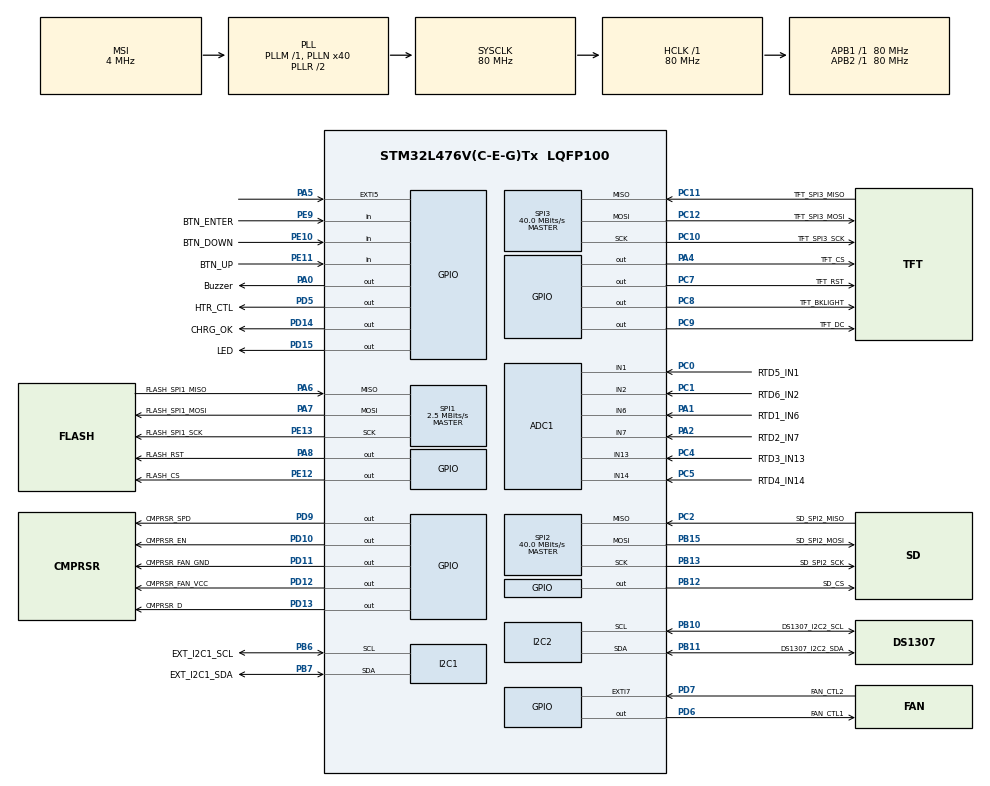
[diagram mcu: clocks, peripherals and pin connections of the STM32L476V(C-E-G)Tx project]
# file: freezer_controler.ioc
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ADC1.Channel-0\#ChannelRegularConversion=ADC_CHANNEL_1
ADC1.Channel-1\#ChannelRegularConversion=ADC_CHANNEL_2
ADC1.Channel-2\#ChannelRegularConversion=ADC_CHANNEL_6
ADC1.Channel-3\#ChannelRegularConversion=ADC_CHANNEL_7
ADC1.Channel-4\#ChannelRegularConversion=ADC_CHANNEL_13
ADC1.Channel-5\#ChannelRegularConversion=ADC_CHANNEL_14
ADC1.ClockPrescaler=ADC_CLOCK_ASYNC_DIV256
ADC1.ContinuousConvMode=ENABLE
ADC1.DMAContinuousRequests=ENABLE
ADC1.NbrOfConversion=6
ADC1.NbrOfConversionFlag=1
ADC1.OffsetNumber-0\#ChannelRegularConversion=ADC_OFFSET_NONE
ADC1.OffsetNumber-1\#ChannelRegularConversion=ADC_OFFSET_NONE
ADC1.OffsetNumber-2\#ChannelRegularConversion=ADC_OFFSET_NONE
ADC1.OffsetNumber-3\#ChannelRegularConversion=ADC_OFFSET_NONE
ADC1.OffsetNumber-4\#ChannelRegularConversion=ADC_OFFSET_NONE
ADC1.OffsetNumber-5\#ChannelRegularConversion=ADC_OFFSET_NONE
ADC1.Rank-0\#ChannelRegularConversion=1
ADC1.Rank-1\#ChannelRegularConversion=2
ADC1.Rank-2\#ChannelRegularConversion=3
ADC1.Rank-3\#ChannelRegularConversion=4
ADC1.Rank-4\#ChannelRegularConversion=5
ADC1.Rank-5\#ChannelRegularConversion=6
ADC1.SamplingTime-0\#ChannelRegularConversion=ADC_SAMPLETIME_2CYCLES_5
ADC1.SamplingTime-1\#ChannelRegularConversion=ADC_SAMPLETIME_2CYCLES_5
ADC1.SamplingTime-2\#ChannelRegularConversion=ADC_SAMPLETIME_2CYCLES_5
ADC1.SamplingTime-3\#ChannelRegularConversion=ADC_SAMPLETIME_2CYCLES_5
ADC1.SamplingTime-4\#ChannelRegularConversion=ADC_SAMPLETIME_2CYCLES_5
ADC1.SamplingTime-5\#ChannelRegularConversion=ADC_SAMPLETIME_2CYCLES_5
ADC1.master=1
CRC.CRCLength=CRC_POLYLENGTH_16B
CRC.DefaultInitValueUse=DEFAULT_INIT_VALUE_ENABLE
CRC.DefaultPolynomialUse=DEFAULT_POLYNOMIAL_DISABLE
CRC.InputDataInversionMode=CRC_INPUTDATA_INVERSION_BYTE
CRC.OutputDataInversionMode=CRC_OUTPUTDATA_INVERSION_DISABLE
Dma.ADC1.1.Direction=DMA_PERIPH_TO_MEMORY
Dma.ADC1.1.Instance=DMA1_Channel1
Dma.ADC1.1.MemDataAlignment=DMA_MDATAALIGN_WORD
Dma.ADC1.1.MemInc=DMA_MINC_ENABLE
Dma.ADC1.1.Mode=DMA_CIRCULAR
Dma.ADC1.1.PeriphDataAlignment=DMA_PDATAALIGN_WORD
Dma.ADC1.1.PeriphInc=DMA_PINC_DISABLE
Dma.ADC1.1.Priority=DMA_PRIORITY_LOW
Dma.Request0=SPI3_TX
Dma.Request1=ADC1
Dma.SPI3_TX.0.Direction=DMA_MEMORY_TO_PERIPH
Dma.SPI3_TX.0.Instance=DMA2_Channel2
Dma.SPI3_TX.0.MemDataAlignment=DMA_MDATAALIGN_BYTE
Dma.SPI3_TX.0.MemInc=DMA_MINC_ENABLE
Dma.SPI3_TX.0.Mode=DMA_NORMAL
Dma.SPI3_TX.0.PeriphDataAlignment=DMA_PDATAALIGN_BYTE
Dma.SPI3_TX.0.PeriphInc=DMA_PINC_DISABLE
Dma.SPI3_TX.0.Priority=DMA_PRIORITY_LOW
FATFS._USE_LFN=1
I2C1.Timing=0x10909CEC
I2C2.Timing=0x10909CEC
Mcu.Family=STM32L4
Mcu.Name=STM32L476V(C-E-G)Tx
Mcu.Package=LQFP100
NVIC.DMA1_Channel1_IRQn=true\:0\:0\:false\:false\:true\:false\:true\:true
NVIC.DMA2_Channel2_IRQn=true\:0\:0\:false\:false\:true\:false\:true\:true
NVIC.PriorityGroup=NVIC_PRIORITYGROUP_4
PA0.GPIO_Label=Buzzer
PA0.Signal=GPIO_Output
PA1.GPIO_Label=RTD1_IN6
PA1.Signal=ADCx_IN6
PA2.GPIO_Label=RTD2_IN7
PA2.Signal=ADCx_IN7
PA4.GPIO_Label=TFT_CS
PA4.PinState=GPIO_PIN_SET
PA4.Signal=GPIO_Output
PA5.Signal=GPXTI5
PA6.GPIO_Label=FLASH_SPI1_MISO
PA6.Mode=Full_Duplex_Master
PA6.Signal=SPI1_MISO
PA7.GPIO_Label=FLASH_SPI1_MOSI
PA7.Mode=Full_Duplex_Master
PA7.Signal=SPI1_MOSI
PA8.GPIO_Label=FLASH_RST
PA8.Signal=GPIO_Output
PA9.Signal=USB_OTG_FS_VBUS
PB10.GPIO_Label=DS1307_I2C2_SCL
PB10.Mode=I2C
PB10.Signal=I2C2_SCL
PB11.GPIO_Label=DS1307_I2C2_SDA
PB11.Mode=I2C
PB11.Signal=I2C2_SDA
PB12.GPIO_Label=SD_CS
PB12.Signal=GPIO_Output
PB13.GPIO_Label=SD_SPI2_SCK
PB13.Mode=Full_Duplex_Master
PB13.Signal=SPI2_SCK
PB15.GPIO_Label=SD_SPI2_MOSI
PB15.Mode=Full_Duplex_Master
PB15.Signal=SPI2_MOSI
PB6.GPIO_Label=EXT_I2C1_SCL
PB6.Mode=I2C
PB6.Signal=I2C1_SCL
PB7.GPIO_Label=EXT_I2C1_SDA
PB7.Mode=I2C
PB7.Signal=I2C1_SDA
PC0.GPIO_Label=RTD5_IN1
PC0.Signal=ADCx_IN1
PC1.GPIO_Label=RTD6_IN2
PC1.Signal=ADCx_IN2
PC10.GPIO_Label=TFT_SPI3_SCK
PC10.Mode=Full_Duplex_Master
PC10.Signal=SPI3_SCK
PC11.GPIO_Label=TFT_SPI3_MISO
PC11.Mode=Full_Duplex_Master
PC11.Signal=SPI3_MISO
PC12.GPIO_Label=TFT_SPI3_MOSI
PC12.Mode=Full_Duplex_Master
PC12.Signal=SPI3_MOSI
PC14-OSC32_IN\ (PC14).Mode=LSE-External-Oscillator
PC14-OSC32_IN\ (PC14).Signal=RCC_OSC32_IN
PC15-OSC32_OUT\ (PC15).Mode=LSE-External-Oscillator
PC15-OSC32_OUT\ (PC15).Signal=RCC_OSC32_OUT
PC2.GPIO_Label=SD_SPI2_MISO
PC2.Mode=Full_Duplex_Master
PC2.Signal=SPI2_MISO
PC4.GPIO_Label=RTD3_IN13
PC4.Signal=ADCx_IN13
PC5.GPIO_Label=RTD4_IN14
PC5.Signal=ADCx_IN14
PC7.GPIO_Label=TFT_RST
PC7.Signal=GPIO_Output
PC8.GPIO_Label=TFT_BKLIGHT
PC8.Signal=GPIO_Output
PC9.GPIO_Label=TFT_DC
PC9.Signal=GPIO_Output
PD10.GPIO_Label=CMPRSR_EN
PD10.Signal=GPIO_Output
PD11.GPIO_Label=CMPRSR_FAN_GND
PD11.Signal=GPIO_Output
PD12.GPIO_Label=CMPRSR_FAN_VCC
PD12.Signal=GPIO_Output
PD13.GPIO_Label=CMPRSR_D
PD13.Signal=GPIO_Output
PD14.GPIO_Label=CHRG_OK
PD14.Signal=GPIO_Output
PD15.GPIO_Label=LED
PD15.Signal=GPIO_Output
PD5.GPIO_Label=HTR_CTL
PD5.Signal=GPIO_Output
PD6.GPIO_Label=FAN_CTL1
PD6.Signal=GPIO_Output
PD7.GPIO_Label=FAN_CTL2
PD7.Signal=GPXTI7
PD9.GPIO_Label=CMPRSR_SPD
PD9.Signal=GPIO_Output
PE10.GPIO_Label=BTN_DOWN
PE10.GPIO_PuPd=GPIO_PULLUP
PE10.Signal=GPIO_Input
PE11.GPIO_Label=BTN_UP
PE11.GPIO_PuPd=GPIO_PULLUP
PE11.Signal=GPIO_Input
PE12.GPIO_Label=FLASH_CS
PE12.Signal=GPIO_Output
PE13.GPIO_Label=FLASH_SPI1_SCK
PE13.Mode=Full_Duplex_Master
PE13.Signal=SPI1_SCK
PE9.GPIO_Label=BTN_ENTER
PE9.GPIO_PuPd=GPIO_PULLUP
PE9.Signal=GPIO_Input
ProjectManager.HeapSize=0x200
ProjectManager.StackSize=0x400
ProjectManager.TargetToolchain=STM32CubeIDE
RCC.ADCFreq_Value=48000000
RCC.AHBFreq_Value=80000000
RCC.APB1Freq_Value=80000000
RCC.APB1TimFreq_Value=80000000
RCC.APB2Freq_Value=80000000
RCC.APB2TimFreq_Value=80000000
RCC.CortexFreq_Value=80000000
RCC.HCLKFreq_Value=80000000
RCC.HSE_VALUE=8000000
RCC.HSI_VALUE=16000000
RCC.MSI_VALUE=4000000
RCC.PLLN=40
RCC.PLLSAI1N=24
RCC.PLLSAI2N=16
RCC.SYSCLKFreq_VALUE=80000000
RCC.SYSCLKSource=RCC_SYSCLKSOURCE_PLLCLK
RCC.USBFreq_Value=48000000
RCC.VCOOutputFreq_Value=160000000
SH.ADCx_IN1.0=ADC1_IN1,IN1-Single-Ended
SH.ADCx_IN13.0=ADC1_IN13,IN13-Single-Ended
SH.ADCx_IN14.0=ADC1_IN14,IN14-Single-Ended
SH.ADCx_IN2.0=ADC1_IN2,IN2-Single-Ended
SH.ADCx_IN6.0=ADC1_IN6,IN6-Single-Ended
SH.ADCx_IN7.0=ADC1_IN7,IN7-Single-Ended
SPI1.BaudRatePrescaler=SPI_BAUDRATEPRESCALER_32
SPI1.CalculateBaudRate=2.5 MBits/s
SPI1.DataSize=SPI_DATASIZE_8BIT
SPI1.Direction=SPI_DIRECTION_2LINES
SPI1.Mode=SPI_MODE_MASTER
SPI1.VirtualType=VM_MASTER
SPI2.CalculateBaudRate=40.0 MBits/s
SPI2.Direction=SPI_DIRECTION_2LINES
SPI2.Mode=SPI_MODE_MASTER
SPI2.VirtualType=VM_MASTER
SPI3.BaudRatePrescaler=SPI_BAUDRATEPRESCALER_2
SPI3.CalculateBaudRate=40.0 MBits/s
SPI3.DataSize=SPI_DATASIZE_8BIT
SPI3.Direction=SPI_DIRECTION_2LINES
SPI3.Mode=SPI_MODE_MASTER
SPI3.VirtualType=VM_MASTER
VP_CRC_VS_CRC.Mode=CRC_Activate
VP_FATFS_VS_Generic.Mode=User_defined
VP_RTC_VS_RTC_Activate.Mode=RTC_Enabled
VP_RTC_VS_RTC_Calendar.Mode=RTC_Calendar
board=custom

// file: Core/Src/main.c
/* USER CODE BEGIN Header */
/**
  ******************************************************************************
  * @file           : main.c
  * @brief          : Main program body
  ******************************************************************************
  * @attention
  *
  * Copyright (c) 2023 STMicroelectronics.
  * All rights reserved.
  *
  * This software is licensed under terms that can be found in the LICENSE file
  * in the root directory of this software component.
  * If no LICENSE file comes with this software, it is provided AS-IS.
  *
  ******************************************************************************
  */
/* USER CODE END Header */
#include "main.h"
#include "adc.h"
#include "crc.h"
#include "dma.h"
#include "fatfs.h"
#include "i2c.h"
#include "rtc.h"
#include "spi.h"
#include "gpio.h"

/* USER CODE BEGIN Includes */
#include "lcd_ui.h"
#include "event.h"
#include "DS1307.h"
#include "led.h"
#include "buzzer.h"
#include "RTD.h"
/* USER CODE END Includes */

void SystemClock_Config(void);

int main(void)
{

  /* MCU Configuration--------------------------------------------------------*/

  /* Reset of all peripherals, Initializes the Flash interface and the Systick. */
  HAL_Init();

  /* Configure the system clock */
  SystemClock_Config();

  /* Initialize all configured peripherals */
  MX_GPIO_Init();
  MX_DMA_Init();
  MX_I2C2_Init();
  MX_SPI1_Init();
  MX_ADC1_Init();
  MX_SPI2_Init();
  MX_FATFS_Init();
  MX_SPI3_Init();
  MX_RTC_Init();
  MX_CRC_Init();
  MX_I2C1_Init();
  /* USER CODE BEGIN 2 */
//  test_log_init();
  event_init();
  //Buzzer or led use
  led_init();
//  buzzer_init();
  //Init i2c periph for DS1307
  DS1307_Init(&hi2c2);
  //RTD temperature sensor
  rtd_init();
  //Board test
  board_test_init();
  //Lcd tft 320x240
  lcd_ui_init();
  lcd_interface_init();
  main_app_init();
//  lcd_ui_clear();
//  lcd_main_screen_screen(SPEAKER_MODE_ON, -20, POWER_MODE_DC, OPERATION_MODE_FREEZER, 80, BATTERY_STATE_CHARGING);
//  lcd_ui_refesh();
  /* USER CODE END 2 */

  /* Infinite loop */
  /* USER CODE BEGIN WHILE */
  while (1)
  {
	 event_run_task();
    /* USER CODE END WHILE */

  }
}

void SystemClock_Config(void)
{
  RCC_OscInitTypeDef RCC_OscInitStruct = {0};
  RCC_ClkInitTypeDef RCC_ClkInitStruct = {0};

  /** Configure the main internal regulator output voltage
  */
  if (HAL_PWREx_ControlVoltageScaling(PWR_REGULATOR_VOLTAGE_SCALE1) != HAL_OK)
  {
    Error_Handler();
  }

  /** Configure LSE Drive Capability
  */
  HAL_PWR_EnableBkUpAccess();
  __HAL_RCC_LSEDRIVE_CONFIG(RCC_LSEDRIVE_LOW);

  /** Initializes the RCC Oscillators according to the specified parameters
  * in the RCC_OscInitTypeDef structure.
  */
  RCC_OscInitStruct.OscillatorType = RCC_OSCILLATORTYPE_LSI|RCC_OSCILLATORTYPE_LSE
                              |RCC_OSCILLATORTYPE_MSI;
  RCC_OscInitStruct.LSEState = RCC_LSE_ON;
  RCC_OscInitStruct.LSIState = RCC_LSI_ON;
  RCC_OscInitStruct.MSIState = RCC_MSI_ON;
  RCC_OscInitStruct.MSICalibrationValue = 0;
  RCC_OscInitStruct.MSIClockRange = RCC_MSIRANGE_6;
  RCC_OscInitStruct.PLL.PLLState = RCC_PLL_ON;
  RCC_OscInitStruct.PLL.PLLSource = RCC_PLLSOURCE_MSI;
  RCC_OscInitStruct.PLL.PLLM = 1;
  RCC_OscInitStruct.PLL.PLLN = 40;
  RCC_OscInitStruct.PLL.PLLP = RCC_PLLP_DIV7;
  RCC_OscInitStruct.PLL.PLLQ = RCC_PLLQ_DIV2;
  RCC_OscInitStruct.PLL.PLLR = RCC_PLLR_DIV2;
  if (HAL_RCC_OscConfig(&RCC_OscInitStruct) != HAL_OK)
  {
    Error_Handler();
  }

  /** Initializes the CPU, AHB and APB buses clocks
  */
  RCC_ClkInitStruct.ClockType = RCC_CLOCKTYPE_HCLK|RCC_CLOCKTYPE_SYSCLK
                              |RCC_CLOCKTYPE_PCLK1|RCC_CLOCKTYPE_PCLK2;
  RCC_ClkInitStruct.SYSCLKSource = RCC_SYSCLKSOURCE_PLLCLK;
  RCC_ClkInitStruct.AHBCLKDivider = RCC_SYSCLK_DIV1;
  RCC_ClkInitStruct.APB1CLKDivider = RCC_HCLK_DIV1;
  RCC_ClkInitStruct.APB2CLKDivider = RCC_HCLK_DIV1;

  if (HAL_RCC_ClockConfig(&RCC_ClkInitStruct, FLASH_LATENCY_4) != HAL_OK)
  {
    Error_Handler();
  }

  /** Enable MSI Auto calibration
  */
  HAL_RCCEx_EnableMSIPLLMode();
}

void Error_Handler(void)
{
  __disable_irq();
  while (1)
  {
  }
}
